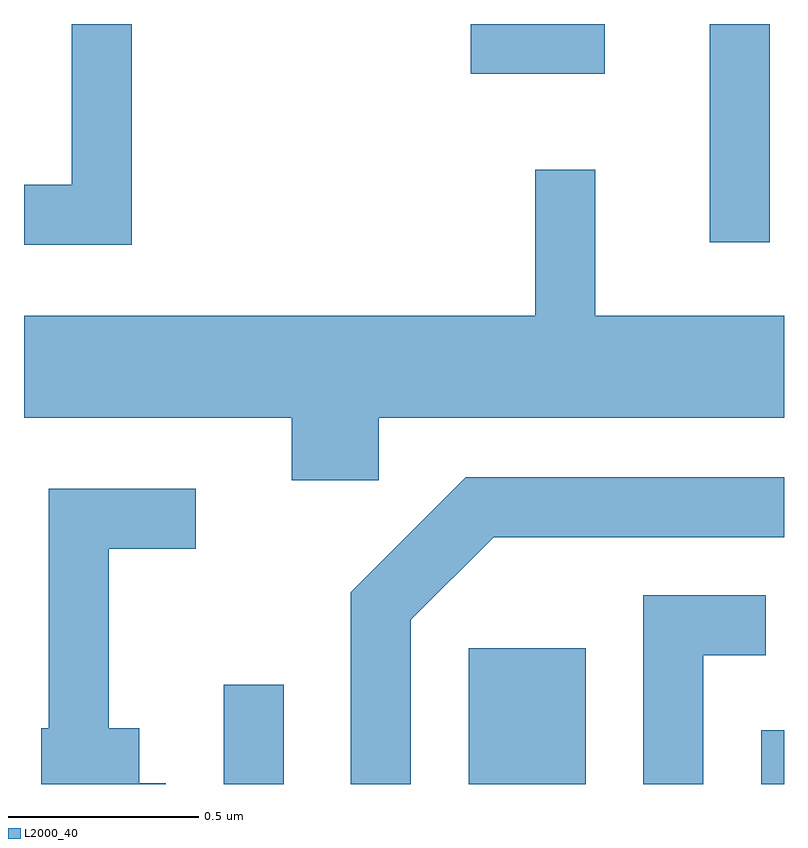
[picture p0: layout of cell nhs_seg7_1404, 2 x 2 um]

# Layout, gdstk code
import gdstk
lib = gdstk.Library(unit=1e-6, precision=1e-09)
def R(c, l, rs):  # rectangles x0, y0, x1, y1
    for r in rs: c.add(gdstk.rectangle(r[:2], r[2:], *l))
def P(c, l, *ps):  # polygons
    for p in ps: c.add(gdstk.Polygon(p, *l))
L2000_40 = (2000, 40)

nhs_seg7_1404 = lib.new_cell('nhs_seg7_1404')
R(nhs_seg7_1404, L2000_40, [(196.136,1702.252,196.294,1702.513), (196.781,1702.252,197.089,1702.609), (197.551,1702.252,197.611,1702.393), (197.416,1703.678,197.574,1704.252), (196.786,1704.121,197.139,1704.252)])
P(nhs_seg7_1404, L2000_40, [(195.894,1704.252),(195.736,1704.252),(195.736,1703.829),(195.611,1703.829),(195.611,1703.671),(195.894,1703.671)],
  [(196.544,1703.216),(197.611,1703.216),(197.611,1703.484),(197.114,1703.484),(197.114,1703.868),(196.956,1703.868),(196.956,1703.484),(195.611,1703.484),(195.611,1703.216),(196.316,1703.216),(196.316,1703.051),(196.544,1703.051)],
  [(196.629,1702.684),(196.847,1702.901),(197.611,1702.901),(197.611,1703.059),(196.774,1703.059),(196.471,1702.757),(196.471,1702.252),(196.629,1702.252)],
  [(195.984,1702.254),(195.914,1702.254),(195.914,1702.399),(195.834,1702.399),(195.834,1702.871),(196.063,1702.871),(196.063,1703.029),(195.676,1703.029),(195.676,1702.399),(195.656,1702.399),(195.656,1702.252),(195.984,1702.252)],
  [(197.399,1702.591),(197.563,1702.591),(197.563,1702.749),(197.241,1702.749),(197.241,1702.252),(197.399,1702.252)])

lib.write_gds('nhs_seg7_1404.gds')
